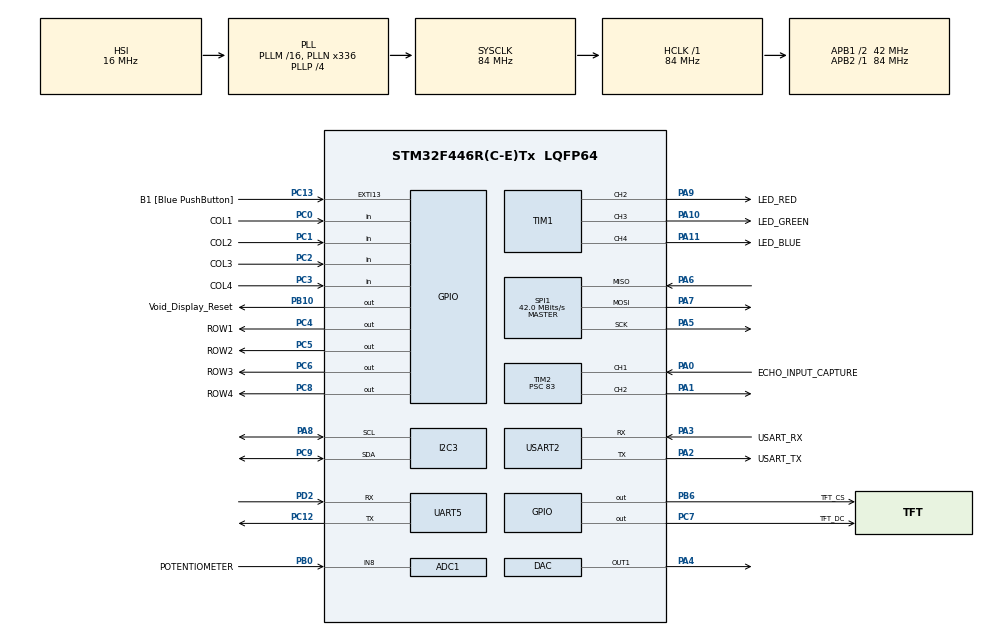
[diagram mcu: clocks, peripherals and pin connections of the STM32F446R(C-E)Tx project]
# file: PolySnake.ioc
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ADC1.Channel-0\#ChannelRegularConversion=ADC_CHANNEL_8
ADC1.NbrOfConversionFlag=1
ADC1.Rank-0\#ChannelRegularConversion=1
ADC1.SamplingTime-0\#ChannelRegularConversion=ADC_SAMPLETIME_3CYCLES
ADC1.master=1
DAC.DAC_Trigger=DAC_TRIGGER_T4_TRGO
Dma.DAC1.0.Direction=DMA_MEMORY_TO_PERIPH
Dma.DAC1.0.FIFOMode=DMA_FIFOMODE_DISABLE
Dma.DAC1.0.Instance=DMA1_Stream5
Dma.DAC1.0.MemDataAlignment=DMA_MDATAALIGN_WORD
Dma.DAC1.0.MemInc=DMA_MINC_ENABLE
Dma.DAC1.0.Mode=DMA_CIRCULAR
Dma.DAC1.0.PeriphDataAlignment=DMA_PDATAALIGN_WORD
Dma.DAC1.0.PeriphInc=DMA_PINC_DISABLE
Dma.DAC1.0.Priority=DMA_PRIORITY_HIGH
Dma.Request0=DAC1
Dma.Request1=SPI1_RX
Dma.Request2=SPI1_TX
Dma.Request3=UART5_RX
Dma.Request4=UART5_TX
Dma.SPI1_RX.1.Direction=DMA_PERIPH_TO_MEMORY
Dma.SPI1_RX.1.FIFOMode=DMA_FIFOMODE_DISABLE
Dma.SPI1_RX.1.Instance=DMA2_Stream0
Dma.SPI1_RX.1.MemDataAlignment=DMA_MDATAALIGN_BYTE
Dma.SPI1_RX.1.MemInc=DMA_MINC_ENABLE
Dma.SPI1_RX.1.Mode=DMA_NORMAL
Dma.SPI1_RX.1.PeriphDataAlignment=DMA_PDATAALIGN_BYTE
Dma.SPI1_RX.1.PeriphInc=DMA_PINC_DISABLE
Dma.SPI1_RX.1.Priority=DMA_PRIORITY_HIGH
Dma.SPI1_TX.2.Direction=DMA_MEMORY_TO_PERIPH
Dma.SPI1_TX.2.FIFOMode=DMA_FIFOMODE_DISABLE
Dma.SPI1_TX.2.Instance=DMA2_Stream3
Dma.SPI1_TX.2.MemDataAlignment=DMA_MDATAALIGN_BYTE
Dma.SPI1_TX.2.MemInc=DMA_MINC_ENABLE
Dma.SPI1_TX.2.Mode=DMA_NORMAL
Dma.SPI1_TX.2.PeriphDataAlignment=DMA_PDATAALIGN_BYTE
Dma.SPI1_TX.2.PeriphInc=DMA_PINC_DISABLE
Dma.SPI1_TX.2.Priority=DMA_PRIORITY_HIGH
Dma.UART5_RX.3.Direction=DMA_PERIPH_TO_MEMORY
Dma.UART5_RX.3.FIFOMode=DMA_FIFOMODE_DISABLE
Dma.UART5_RX.3.Instance=DMA1_Stream0
Dma.UART5_RX.3.MemDataAlignment=DMA_MDATAALIGN_BYTE
Dma.UART5_RX.3.MemInc=DMA_MINC_ENABLE
Dma.UART5_RX.3.Mode=DMA_CIRCULAR
Dma.UART5_RX.3.PeriphDataAlignment=DMA_PDATAALIGN_BYTE
Dma.UART5_RX.3.PeriphInc=DMA_PINC_DISABLE
Dma.UART5_RX.3.Priority=DMA_PRIORITY_LOW
Dma.UART5_TX.4.Direction=DMA_MEMORY_TO_PERIPH
Dma.UART5_TX.4.FIFOMode=DMA_FIFOMODE_DISABLE
Dma.UART5_TX.4.Instance=DMA1_Stream7
Dma.UART5_TX.4.MemDataAlignment=DMA_MDATAALIGN_BYTE
Dma.UART5_TX.4.MemInc=DMA_MINC_ENABLE
Dma.UART5_TX.4.Mode=DMA_NORMAL
Dma.UART5_TX.4.PeriphDataAlignment=DMA_PDATAALIGN_BYTE
Dma.UART5_TX.4.PeriphInc=DMA_PINC_DISABLE
Dma.UART5_TX.4.Priority=DMA_PRIORITY_LOW
Mcu.Family=STM32F4
Mcu.Name=STM32F446R(C-E)Tx
Mcu.Package=LQFP64
NVIC.DMA1_Stream0_IRQn=true\:0\:0\:false\:false\:true\:false\:true\:true
NVIC.DMA1_Stream5_IRQn=true\:0\:0\:false\:false\:true\:false\:true\:true
NVIC.DMA1_Stream7_IRQn=true\:0\:0\:false\:false\:true\:false\:true\:true
NVIC.DMA2_Stream0_IRQn=true\:0\:0\:false\:false\:true\:false\:true\:true
NVIC.DMA2_Stream3_IRQn=true\:0\:0\:false\:false\:true\:false\:true\:true
NVIC.I2C3_ER_IRQn=true\:0\:0\:false\:false\:true\:true\:true\:true
NVIC.I2C3_EV_IRQn=true\:0\:0\:false\:false\:true\:true\:true\:true
NVIC.PriorityGroup=NVIC_PRIORITYGROUP_0
NVIC.SPI1_IRQn=true\:0\:0\:false\:false\:true\:true\:true\:true
NVIC.TIM2_IRQn=true\:0\:0\:false\:false\:true\:true\:true\:true
NVIC.TIM7_IRQn=true\:0\:0\:false\:false\:true\:true\:true\:true
NVIC.UART5_IRQn=true\:0\:0\:false\:false\:true\:true\:true\:true
NVIC.USART2_IRQn=true\:0\:0\:false\:false\:true\:true\:true\:true
PA0-WKUP.GPIO_Label=ECHO_INPUT_CAPTURE
PA0-WKUP.Signal=S_TIM2_CH1_ETR
PA1.Signal=S_TIM2_CH2
PA10.GPIO_Label=LED_GREEN
PA10.Signal=S_TIM1_CH3
PA11.GPIO_Label=LED_BLUE
PA11.Signal=S_TIM1_CH4
PA13.GPIO_Label=TMS
PA13.Mode=Serial_Wire
PA13.Signal=SYS_JTMS-SWDIO
PA14.GPIO_Label=TCK
PA14.Mode=Serial_Wire
PA14.Signal=SYS_JTCK-SWCLK
PA2.GPIO_Label=USART_TX
PA2.Mode=Asynchronous
PA2.Signal=USART2_TX
PA3.GPIO_Label=USART_RX
PA3.Mode=Asynchronous
PA3.Signal=USART2_RX
PA4.Signal=COMP_DAC1_group
PA5.Mode=Full_Duplex_Master
PA5.Signal=SPI1_SCK
PA6.Mode=Full_Duplex_Master
PA6.Signal=SPI1_MISO
PA7.Mode=Full_Duplex_Master
PA7.Signal=SPI1_MOSI
PA8.Mode=I2C
PA8.Signal=I2C3_SCL
PA9.GPIO_Label=LED_RED
PA9.Signal=S_TIM1_CH2
PB0.GPIO_Label=POTENTIOMETER
PB0.Signal=ADCx_IN8
PB10.GPIO_Label=Void_Display_Reset
PB10.Signal=GPIO_Output
PB3.GPIO_Label=SWO
PB3.Signal=SYS_JTDO-SWO
PB6.GPIO_Label=TFT_CS
PB6.Signal=GPIO_Output
PC0.GPIO_Label=COL1
PC0.GPIO_PuPd=GPIO_PULLUP
PC0.Signal=GPIO_Input
PC1.GPIO_Label=COL2
PC1.GPIO_PuPd=GPIO_PULLUP
PC1.Signal=GPIO_Input
PC12.Mode=Asynchronous
PC12.Signal=UART5_TX
PC13.GPIO_Label=B1 [Blue PushButton]
PC13.GPIO_ModeDefaultEXTI=GPIO_MODE_IT_FALLING
PC13.Signal=GPXTI13
PC14-OSC32_IN.Mode=LSE-External-Oscillator
PC14-OSC32_IN.Signal=RCC_OSC32_IN
PC15-OSC32_OUT.Mode=LSE-External-Oscillator
PC15-OSC32_OUT.Signal=RCC_OSC32_OUT
PC2.GPIO_Label=COL3
PC2.GPIO_PuPd=GPIO_PULLUP
PC2.Signal=GPIO_Input
PC3.GPIO_Label=COL4
PC3.GPIO_PuPd=GPIO_PULLUP
PC3.Signal=GPIO_Input
PC4.GPIO_Label=ROW1
PC4.GPIO_ModeDefaultOutputPP=GPIO_MODE_OUTPUT_OD
PC4.GPIO_PuPd=GPIO_NOPULL
PC4.Signal=GPIO_Output
PC5.GPIO_Label=ROW2
PC5.GPIO_ModeDefaultOutputPP=GPIO_MODE_OUTPUT_OD
PC5.GPIO_PuPd=GPIO_NOPULL
PC5.Signal=GPIO_Output
PC6.GPIO_Label=ROW3
PC6.GPIO_ModeDefaultOutputPP=GPIO_MODE_OUTPUT_OD
PC6.GPIO_PuPd=GPIO_NOPULL
PC6.Signal=GPIO_Output
PC7.GPIO_Label=TFT_DC
PC7.Signal=GPIO_Output
PC8.GPIO_Label=ROW4
PC8.GPIO_ModeDefaultOutputPP=GPIO_MODE_OUTPUT_OD
PC8.GPIO_PuPd=GPIO_NOPULL
PC8.Signal=GPIO_Output
PC9.Mode=I2C
PC9.Signal=I2C3_SDA
PD2.Mode=Asynchronous
PD2.Signal=UART5_RX
PH0-OSC_IN.Mode=HSE-External-Oscillator
PH0-OSC_IN.Signal=RCC_OSC_IN
PH1-OSC_OUT.Mode=HSE-External-Oscillator
PH1-OSC_OUT.Signal=RCC_OSC_OUT
ProjectManager.HeapSize=0x200
ProjectManager.StackSize=0x400
ProjectManager.TargetToolchain=STM32CubeIDE
RCC.48MHZClocksFreq_Value=84000000
RCC.AHBFreq_Value=84000000
RCC.APB1CLKDivider=RCC_HCLK_DIV2
RCC.APB1Freq_Value=42000000
RCC.APB1TimFreq_Value=84000000
RCC.APB2Freq_Value=84000000
RCC.APB2TimFreq_Value=84000000
RCC.CortexFreq_Value=84000000
RCC.FLatency-AdvancedSettings=FLASH_LATENCY_2
RCC.HCLKFreq_Value=84000000
RCC.HSE_VALUE=8000000
RCC.HSI_VALUE=16000000
RCC.PLLN=336
RCC.PLLP=RCC_PLLP_DIV4
RCC.SYSCLKFreq_VALUE=84000000
RCC.SYSCLKSource=RCC_SYSCLKSOURCE_PLLCLK
RCC.USBFreq_Value=168000000
RCC.VCOOutputFreq_Value=336000000
SH.ADCx_IN8.0=ADC1_IN8,IN8
SH.COMP_DAC1_group.0=DAC_OUT1,DAC_OUT1
SH.S_TIM1_CH2.0=TIM1_CH2,PWM Generation2 CH2
SH.S_TIM1_CH3.0=TIM1_CH3,PWM Generation3 CH3
SH.S_TIM1_CH4.0=TIM1_CH4,PWM Generation4 CH4
SH.S_TIM2_CH1_ETR.0=TIM2_CH1,Input_Capture1_from_TI1
SH.S_TIM2_CH2.0=TIM2_CH2,PWM Generation2 CH2
SPI1.CalculateBaudRate=42.0 MBits/s
SPI1.Direction=SPI_DIRECTION_2LINES
SPI1.Mode=SPI_MODE_MASTER
SPI1.VirtualType=VM_MASTER
TIM1.AutoReloadPreload=TIM_AUTORELOAD_PRELOAD_ENABLE
TIM1.Channel-PWM\ Generation2\ CH2=TIM_CHANNEL_2
TIM1.Channel-PWM\ Generation3\ CH3=TIM_CHANNEL_3
TIM1.Channel-PWM\ Generation4\ CH4=TIM_CHANNEL_4
TIM2.Channel-Input_Capture1_from_TI1=TIM_CHANNEL_1
TIM2.Channel-PWM\ Generation2\ CH2=TIM_CHANNEL_2
TIM2.ICPolarity_CH1=TIM_INPUTCHANNELPOLARITY_BOTHEDGE
TIM2.Period=199999
TIM2.Prescaler=83
TIM2.Pulse-PWM\ Generation2\ CH2=10
TIM2.TIM_MasterOutputTrigger=TIM_TRGO_RESET
TIM4.Period=24
TIM4.Prescaler=83
TIM4.TIM_MasterOutputTrigger=TIM_TRGO_UPDATE
TIM7.Period=49999
TIM7.Prescaler=839
TIM7.TIM_MasterOutputTrigger=TIM_TRGO_UPDATE
UART5.VirtualMode=Asynchronous
USART2.VirtualMode=VM_ASYNC
VP_TIM1_VS_ClockSourceINT.Mode=Internal
VP_TIM2_VS_ClockSourceINT.Mode=Internal
VP_TIM4_VS_ClockSourceINT.Mode=Internal
VP_TIM6_VS_ClockSourceINT.Mode=Enable_Timer
VP_TIM7_VS_ClockSourceINT.Mode=Enable_Timer
board=NUCLEO-F446RE

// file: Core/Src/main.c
/* USER CODE BEGIN Header */
/**
 ******************************************************************************
 * @file           : main.c
 * @brief          : Main program body
 ******************************************************************************
 * @attention
 *
 * Copyright (c) 2025 STMicroelectronics.
 * All rights reserved.
 *
 * This software is licensed under terms that can be found in the LICENSE file
 * in the root directory of this software component.
 * If no LICENSE file comes with this software, it is provided AS-IS.
 *
 ******************************************************************************
 */
/* USER CODE END Header */
#include "main.h"

/* USER CODE BEGIN Includes */
#include <stdio.h>
#include <stdlib.h>

#include "cpp_main.h"
#include "stm32f4xx_hal_uart.h"
/* USER CODE END Includes */

/* USER CODE BEGIN PD */
#define RX_BUFFER_SIZE 1
#define GAME_DELAY_COUNT 20

/* USER CODE END PD */

ADC_HandleTypeDef hadc1;

DAC_HandleTypeDef hdac;
DMA_HandleTypeDef hdma_dac1;

I2C_HandleTypeDef hi2c3;

SPI_HandleTypeDef hspi1;
DMA_HandleTypeDef hdma_spi1_rx;
DMA_HandleTypeDef hdma_spi1_tx;

TIM_HandleTypeDef htim1;
TIM_HandleTypeDef htim2;
TIM_HandleTypeDef htim4;
TIM_HandleTypeDef htim6;
TIM_HandleTypeDef htim7;

UART_HandleTypeDef huart5;
UART_HandleTypeDef huart2;
DMA_HandleTypeDef hdma_uart5_rx;
DMA_HandleTypeDef hdma_uart5_tx;

/* USER CODE BEGIN PV */
uint8_t rx_buffer_USB[RX_BUFFER_SIZE];
uint8_t rx_buffer[RX_BUFFER_SIZE];
volatile uint32_t systick_count = 0;
volatile uint32_t victory_screen_delay = 0;
volatile uint16_t game_delay = 0;
volatile uint16_t game_delay_flag = 0;

/* USER CODE END PV */

void SystemClock_Config(void);
static void MX_GPIO_Init(void);
static void MX_DMA_Init(void);
static void MX_USART2_UART_Init(void);
static void MX_DAC_Init(void);
static void MX_TIM6_Init(void);
static void MX_TIM2_Init(void);
static void MX_TIM4_Init(void);
static void MX_SPI1_Init(void);
static void MX_UART5_Init(void);
static void MX_I2C3_Init(void);
static void MX_ADC1_Init(void);
static void MX_TIM1_Init(void);
static void MX_TIM7_Init(void);

int main(void) {

  /* MCU Configuration--------------------------------------------------------*/

  /* Reset of all peripherals, Initializes the Flash interface and the Systick.
   */
  HAL_Init();

  /* Configure the system clock */
  SystemClock_Config();

  /* Initialize all configured peripherals */
  MX_GPIO_Init();
  MX_DMA_Init();
  MX_USART2_UART_Init();
  MX_DAC_Init();
  MX_TIM6_Init();
  MX_TIM2_Init();
  MX_TIM4_Init();
  MX_SPI1_Init();
  MX_UART5_Init();
  MX_I2C3_Init();
  MX_ADC1_Init();
  MX_TIM1_Init();
  MX_TIM7_Init();
  /* USER CODE BEGIN 2 */

  HAL_TIM_Base_Start_IT(&htim7);
  HAL_TIM_IC_Start_IT(&htim2, TIM_CHANNEL_1);
  HAL_UART_Receive_IT(&huart2, rx_buffer_USB, RX_BUFFER_SIZE);
  HAL_UART_Receive_IT(&huart5, rx_buffer, RX_BUFFER_SIZE);
  peripheral_handles handles = {.hdac = &hdac,
                                .htim_dac = &htim4,
                                .hspi_tft = &hspi1,
                                .htim_distance = &htim2,
                                .htim_led = &htim1,
                                .hi2c = &hi2c3,
                                .huart = &huart5,
                                .debug_uart = &huart2,
                                .hadc = &hadc1,
                                .gpio_keypad = GPIOC};
  // Main function of the game.
  cpp_main(&handles);

  /* USER CODE END 2 */

  /* Infinite loop */
  while (1) {

  }
}

void SystemClock_Config(void) {
  RCC_OscInitTypeDef RCC_OscInitStruct = {0};
  RCC_ClkInitTypeDef RCC_ClkInitStruct = {0};

  /** Configure the main internal regulator output voltage
   */
  __HAL_RCC_PWR_CLK_ENABLE();
  __HAL_PWR_VOLTAGESCALING_CONFIG(PWR_REGULATOR_VOLTAGE_SCALE3);

  /** Initializes the RCC Oscillators according to the specified parameters
   * in the RCC_OscInitTypeDef structure.
   */
  RCC_OscInitStruct.OscillatorType = RCC_OSCILLATORTYPE_HSI;
  RCC_OscInitStruct.HSIState = RCC_HSI_ON;
  RCC_OscInitStruct.HSICalibrationValue = RCC_HSICALIBRATION_DEFAULT;
  RCC_OscInitStruct.PLL.PLLState = RCC_PLL_ON;
  RCC_OscInitStruct.PLL.PLLSource = RCC_PLLSOURCE_HSI;
  RCC_OscInitStruct.PLL.PLLM = 16;
  RCC_OscInitStruct.PLL.PLLN = 336;
  RCC_OscInitStruct.PLL.PLLP = RCC_PLLP_DIV4;
  RCC_OscInitStruct.PLL.PLLQ = 2;
  RCC_OscInitStruct.PLL.PLLR = 2;
  if (HAL_RCC_OscConfig(&RCC_OscInitStruct) != HAL_OK) {
    Error_Handler();
  }

  /** Initializes the CPU, AHB and APB buses clocks
   */
  RCC_ClkInitStruct.ClockType = RCC_CLOCKTYPE_HCLK | RCC_CLOCKTYPE_SYSCLK |
                                RCC_CLOCKTYPE_PCLK1 | RCC_CLOCKTYPE_PCLK2;
  RCC_ClkInitStruct.SYSCLKSource = RCC_SYSCLKSOURCE_PLLCLK;
  RCC_ClkInitStruct.AHBCLKDivider = RCC_SYSCLK_DIV1;
  RCC_ClkInitStruct.APB1CLKDivider = RCC_HCLK_DIV2;
  RCC_ClkInitStruct.APB2CLKDivider = RCC_HCLK_DIV1;

  if (HAL_RCC_ClockConfig(&RCC_ClkInitStruct, FLASH_LATENCY_2) != HAL_OK) {
    Error_Handler();
  }
}

static void MX_ADC1_Init(void) {

  ADC_ChannelConfTypeDef sConfig = {0};

  /** Configure the global features of the ADC (Clock, Resolution, Data
   * Alignment and number of conversion)
   */
  hadc1.Instance = ADC1;
  hadc1.Init.ClockPrescaler = ADC_CLOCK_SYNC_PCLK_DIV4;
  hadc1.Init.Resolution = ADC_RESOLUTION_12B;
  hadc1.Init.ScanConvMode = DISABLE;
  hadc1.Init.ContinuousConvMode = DISABLE;
  hadc1.Init.DiscontinuousConvMode = DISABLE;
  hadc1.Init.ExternalTrigConvEdge = ADC_EXTERNALTRIGCONVEDGE_NONE;
  hadc1.Init.ExternalTrigConv = ADC_SOFTWARE_START;
  hadc1.Init.DataAlign = ADC_DATAALIGN_RIGHT;
  hadc1.Init.NbrOfConversion = 1;
  hadc1.Init.DMAContinuousRequests = DISABLE;
  hadc1.Init.EOCSelection = ADC_EOC_SINGLE_CONV;
  if (HAL_ADC_Init(&hadc1) != HAL_OK) {
    Error_Handler();
  }

  /** Configure for the selected ADC regular channel its corresponding rank in
   * the sequencer and its sample time.
   */
  sConfig.Channel = ADC_CHANNEL_8;
  sConfig.Rank = 1;
  sConfig.SamplingTime = ADC_SAMPLETIME_3CYCLES;
  if (HAL_ADC_ConfigChannel(&hadc1, &sConfig) != HAL_OK) {
    Error_Handler();
  }
}

static void MX_DAC_Init(void) {

  DAC_ChannelConfTypeDef sConfig = {0};

  /** DAC Initialization
   */
  hdac.Instance = DAC;
  if (HAL_DAC_Init(&hdac) != HAL_OK) {
    Error_Handler();
  }

  /** DAC channel OUT1 config
   */
  sConfig.DAC_Trigger = DAC_TRIGGER_T4_TRGO;
  sConfig.DAC_OutputBuffer = DAC_OUTPUTBUFFER_ENABLE;
  if (HAL_DAC_ConfigChannel(&hdac, &sConfig, DAC_CHANNEL_1) != HAL_OK) {
    Error_Handler();
  }
}

static void MX_I2C3_Init(void) {

  hi2c3.Instance = I2C3;
  hi2c3.Init.ClockSpeed = 100000;
  hi2c3.Init.DutyCycle = I2C_DUTYCYCLE_2;
  hi2c3.Init.OwnAddress1 = 0;
  hi2c3.Init.AddressingMode = I2C_ADDRESSINGMODE_7BIT;
  hi2c3.Init.DualAddressMode = I2C_DUALADDRESS_DISABLE;
  hi2c3.Init.OwnAddress2 = 0;
  hi2c3.Init.GeneralCallMode = I2C_GENERALCALL_DISABLE;
  hi2c3.Init.NoStretchMode = I2C_NOSTRETCH_DISABLE;
  if (HAL_I2C_Init(&hi2c3) != HAL_OK) {
    Error_Handler();
  }
}

static void MX_SPI1_Init(void) {

  /* SPI1 parameter configuration*/
  hspi1.Instance = SPI1;
  hspi1.Init.Mode = SPI_MODE_MASTER;
  hspi1.Init.Direction = SPI_DIRECTION_2LINES;
  hspi1.Init.DataSize = SPI_DATASIZE_8BIT;
  hspi1.Init.CLKPolarity = SPI_POLARITY_LOW;
  hspi1.Init.CLKPhase = SPI_PHASE_1EDGE;
  hspi1.Init.NSS = SPI_NSS_SOFT;
  hspi1.Init.BaudRatePrescaler = SPI_BAUDRATEPRESCALER_2;
  hspi1.Init.FirstBit = SPI_FIRSTBIT_MSB;
  hspi1.Init.TIMode = SPI_TIMODE_DISABLE;
  hspi1.Init.CRCCalculation = SPI_CRCCALCULATION_DISABLE;
  hspi1.Init.CRCPolynomial = 10;
  if (HAL_SPI_Init(&hspi1) != HAL_OK) {
    Error_Handler();
  }
}

static void MX_TIM1_Init(void) {

  TIM_ClockConfigTypeDef sClockSourceConfig = {0};
  TIM_MasterConfigTypeDef sMasterConfig = {0};
  TIM_OC_InitTypeDef sConfigOC = {0};
  TIM_BreakDeadTimeConfigTypeDef sBreakDeadTimeConfig = {0};

  htim1.Instance = TIM1;
  htim1.Init.Prescaler = 0;
  htim1.Init.CounterMode = TIM_COUNTERMODE_UP;
  htim1.Init.Period = 65535;
  htim1.Init.ClockDivision = TIM_CLOCKDIVISION_DIV1;
  htim1.Init.RepetitionCounter = 0;
  htim1.Init.AutoReloadPreload = TIM_AUTORELOAD_PRELOAD_ENABLE;
  if (HAL_TIM_Base_Init(&htim1) != HAL_OK) {
    Error_Handler();
  }
  sClockSourceConfig.ClockSource = TIM_CLOCKSOURCE_INTERNAL;
  if (HAL_TIM_ConfigClockSource(&htim1, &sClockSourceConfig) != HAL_OK) {
    Error_Handler();
  }
  if (HAL_TIM_PWM_Init(&htim1) != HAL_OK) {
    Error_Handler();
  }
  sMasterConfig.MasterOutputTrigger = TIM_TRGO_RESET;
  sMasterConfig.MasterSlaveMode = TIM_MASTERSLAVEMODE_DISABLE;
  if (HAL_TIMEx_MasterConfigSynchronization(&htim1, &sMasterConfig) != HAL_OK) {
    Error_Handler();
  }
  sConfigOC.OCMode = TIM_OCMODE_PWM1;
  sConfigOC.Pulse = 0;
  sConfigOC.OCPolarity = TIM_OCPOLARITY_HIGH;
  sConfigOC.OCNPolarity = TIM_OCNPOLARITY_HIGH;
  sConfigOC.OCFastMode = TIM_OCFAST_DISABLE;
  sConfigOC.OCIdleState = TIM_OCIDLESTATE_RESET;
  sConfigOC.OCNIdleState = TIM_OCNIDLESTATE_RESET;
  if (HAL_TIM_PWM_ConfigChannel(&htim1, &sConfigOC, TIM_CHANNEL_2) != HAL_OK) {
    Error_Handler();
  }
  if (HAL_TIM_PWM_ConfigChannel(&htim1, &sConfigOC, TIM_CHANNEL_3) != HAL_OK) {
    Error_Handler();
  }
  if (HAL_TIM_PWM_ConfigChannel(&htim1, &sConfigOC, TIM_CHANNEL_4) != HAL_OK) {
    Error_Handler();
  }
  sBreakDeadTimeConfig.OffStateRunMode = TIM_OSSR_DISABLE;
  sBreakDeadTimeConfig.OffStateIDLEMode = TIM_OSSI_DISABLE;
  sBreakDeadTimeConfig.LockLevel = TIM_LOCKLEVEL_OFF;
  sBreakDeadTimeConfig.DeadTime = 0;
  sBreakDeadTimeConfig.BreakState = TIM_BREAK_DISABLE;
  sBreakDeadTimeConfig.BreakPolarity = TIM_BREAKPOLARITY_HIGH;
  sBreakDeadTimeConfig.AutomaticOutput = TIM_AUTOMATICOUTPUT_DISABLE;
  if (HAL_TIMEx_ConfigBreakDeadTime(&htim1, &sBreakDeadTimeConfig) != HAL_OK) {
    Error_Handler();
  }
  HAL_TIM_MspPostInit(&htim1);
}

static void MX_TIM2_Init(void) {

  TIM_ClockConfigTypeDef sClockSourceConfig = {0};
  TIM_MasterConfigTypeDef sMasterConfig = {0};
  TIM_IC_InitTypeDef sConfigIC = {0};
  TIM_OC_InitTypeDef sConfigOC = {0};

  htim2.Instance = TIM2;
  htim2.Init.Prescaler = 83;
  htim2.Init.CounterMode = TIM_COUNTERMODE_UP;
  htim2.Init.Period = 199999;
  htim2.Init.ClockDivision = TIM_CLOCKDIVISION_DIV1;
  htim2.Init.AutoReloadPreload = TIM_AUTORELOAD_PRELOAD_DISABLE;
  if (HAL_TIM_Base_Init(&htim2) != HAL_OK) {
    Error_Handler();
  }
  sClockSourceConfig.ClockSource = TIM_CLOCKSOURCE_INTERNAL;
  if (HAL_TIM_ConfigClockSource(&htim2, &sClockSourceConfig) != HAL_OK) {
    Error_Handler();
  }
  if (HAL_TIM_IC_Init(&htim2) != HAL_OK) {
    Error_Handler();
  }
  if (HAL_TIM_PWM_Init(&htim2) != HAL_OK) {
    Error_Handler();
  }
  sMasterConfig.MasterOutputTrigger = TIM_TRGO_RESET;
  sMasterConfig.MasterSlaveMode = TIM_MASTERSLAVEMODE_DISABLE;
  if (HAL_TIMEx_MasterConfigSynchronization(&htim2, &sMasterConfig) != HAL_OK) {
    Error_Handler();
  }
  sConfigIC.ICPolarity = TIM_INPUTCHANNELPOLARITY_BOTHEDGE;
  sConfigIC.ICSelection = TIM_ICSELECTION_DIRECTTI;
  sConfigIC.ICPrescaler = TIM_ICPSC_DIV1;
  sConfigIC.ICFilter = 0;
  if (HAL_TIM_IC_ConfigChannel(&htim2, &sConfigIC, TIM_CHANNEL_1) != HAL_OK) {
    Error_Handler();
  }
  sConfigOC.OCMode = TIM_OCMODE_PWM1;
  sConfigOC.Pulse = 10;
  sConfigOC.OCPolarity = TIM_OCPOLARITY_HIGH;
  sConfigOC.OCFastMode = TIM_OCFAST_DISABLE;
  if (HAL_TIM_PWM_ConfigChannel(&htim2, &sConfigOC, TIM_CHANNEL_2) != HAL_OK) {
    Error_Handler();
  }
  HAL_TIM_MspPostInit(&htim2);
}

static void MX_TIM4_Init(void) {

  TIM_ClockConfigTypeDef sClockSourceConfig = {0};
  TIM_MasterConfigTypeDef sMasterConfig = {0};

  htim4.Instance = TIM4;
  htim4.Init.Prescaler = 83;
  htim4.Init.CounterMode = TIM_COUNTERMODE_UP;
  htim4.Init.Period = 24;
  htim4.Init.ClockDivision = TIM_CLOCKDIVISION_DIV1;
  htim4.Init.AutoReloadPreload = TIM_AUTORELOAD_PRELOAD_DISABLE;
  if (HAL_TIM_Base_Init(&htim4) != HAL_OK) {
    Error_Handler();
  }
  sClockSourceConfig.ClockSource = TIM_CLOCKSOURCE_INTERNAL;
  if (HAL_TIM_ConfigClockSource(&htim4, &sClockSourceConfig) != HAL_OK) {
    Error_Handler();
  }
  sMasterConfig.MasterOutputTrigger = TIM_TRGO_UPDATE;
  sMasterConfig.MasterSlaveMode = TIM_MASTERSLAVEMODE_DISABLE;
  if (HAL_TIMEx_MasterConfigSynchronization(&htim4, &sMasterConfig) != HAL_OK) {
    Error_Handler();
  }
}

static void MX_TIM6_Init(void) {

  TIM_MasterConfigTypeDef sMasterConfig = {0};

  htim6.Instance = TIM6;
  htim6.Init.Prescaler = 0;
  htim6.Init.CounterMode = TIM_COUNTERMODE_UP;
  htim6.Init.Period = 65535;
  htim6.Init.AutoReloadPreload = TIM_AUTORELOAD_PRELOAD_DISABLE;
  if (HAL_TIM_Base_Init(&htim6) != HAL_OK) {
    Error_Handler();
  }
  sMasterConfig.MasterOutputTrigger = TIM_TRGO_RESET;
  sMasterConfig.MasterSlaveMode = TIM_MASTERSLAVEMODE_DISABLE;
  if (HAL_TIMEx_MasterConfigSynchronization(&htim6, &sMasterConfig) != HAL_OK) {
    Error_Handler();
  }
}

static void MX_TIM7_Init(void) {

  TIM_MasterConfigTypeDef sMasterConfig = {0};

  htim7.Instance = TIM7;
  htim7.Init.Prescaler = 839;
  htim7.Init.CounterMode = TIM_COUNTERMODE_UP;
  htim7.Init.Period = 49999;
  htim7.Init.AutoReloadPreload = TIM_AUTORELOAD_PRELOAD_DISABLE;
  if (HAL_TIM_Base_Init(&htim7) != HAL_OK) {
    Error_Handler();
  }
  sMasterConfig.MasterOutputTrigger = TIM_TRGO_UPDATE;
  sMasterConfig.MasterSlaveMode = TIM_MASTERSLAVEMODE_DISABLE;
  if (HAL_TIMEx_MasterConfigSynchronization(&htim7, &sMasterConfig) != HAL_OK) {
    Error_Handler();
  }
}

static void MX_UART5_Init(void) {

  huart5.Instance = UART5;
  huart5.Init.BaudRate = 115200;
  huart5.Init.WordLength = UART_WORDLENGTH_8B;
  huart5.Init.StopBits = UART_STOPBITS_1;
  huart5.Init.Parity = UART_PARITY_NONE;
  huart5.Init.Mode = UART_MODE_TX_RX;
  huart5.Init.HwFlowCtl = UART_HWCONTROL_NONE;
  huart5.Init.OverSampling = UART_OVERSAMPLING_16;
  if (HAL_UART_Init(&huart5) != HAL_OK) {
    Error_Handler();
  }
}

static void MX_USART2_UART_Init(void) {

  huart2.Instance = USART2;
  huart2.Init.BaudRate = 115200;
  huart2.Init.WordLength = UART_WORDLENGTH_8B;
  huart2.Init.StopBits = UART_STOPBITS_1;
  huart2.Init.Parity = UART_PARITY_NONE;
  huart2.Init.Mode = UART_MODE_TX_RX;
  huart2.Init.HwFlowCtl = UART_HWCONTROL_NONE;
  huart2.Init.OverSampling = UART_OVERSAMPLING_16;
  if (HAL_UART_Init(&huart2) != HAL_OK) {
    Error_Handler();
  }
  /* USER CODE BEGIN USART2_Init 2 */
  HAL_NVIC_SetPriority(USART2_IRQn, 0, 0);
  HAL_NVIC_EnableIRQ(USART2_IRQn);
  /* USER CODE END USART2_Init 2 */
}

static void MX_DMA_Init(void) {
  /* DMA controller clock enable */
  __HAL_RCC_DMA1_CLK_ENABLE();
  __HAL_RCC_DMA2_CLK_ENABLE();

  /* DMA interrupt init */
  /* DMA1_Stream0_IRQn interrupt configuration */
  HAL_NVIC_SetPriority(DMA1_Stream0_IRQn, 0, 0);
  HAL_NVIC_EnableIRQ(DMA1_Stream0_IRQn);
  /* DMA1_Stream5_IRQn interrupt configuration */
  HAL_NVIC_SetPriority(DMA1_Stream5_IRQn, 0, 0);
  HAL_NVIC_EnableIRQ(DMA1_Stream5_IRQn);
  /* DMA1_Stream7_IRQn interrupt configuration */
  HAL_NVIC_SetPriority(DMA1_Stream7_IRQn, 0, 0);
  HAL_NVIC_EnableIRQ(DMA1_Stream7_IRQn);
  /* DMA2_Stream0_IRQn interrupt configuration */
  HAL_NVIC_SetPriority(DMA2_Stream0_IRQn, 0, 0);
  HAL_NVIC_EnableIRQ(DMA2_Stream0_IRQn);
  /* DMA2_Stream3_IRQn interrupt configuration */
  HAL_NVIC_SetPriority(DMA2_Stream3_IRQn, 0, 0);
  HAL_NVIC_EnableIRQ(DMA2_Stream3_IRQn);
}

static void MX_GPIO_Init(void) {
  GPIO_InitTypeDef GPIO_InitStruct = {0};

  /* GPIO Ports Clock Enable */
  __HAL_RCC_GPIOC_CLK_ENABLE();
  __HAL_RCC_GPIOH_CLK_ENABLE();
  __HAL_RCC_GPIOA_CLK_ENABLE();
  __HAL_RCC_GPIOB_CLK_ENABLE();
  __HAL_RCC_GPIOD_CLK_ENABLE();

  /*Configure GPIO pin Output Level */
  HAL_GPIO_WritePin(GPIOC,
                    ROW1_Pin | ROW2_Pin | ROW3_Pin | TFT_DC_Pin | ROW4_Pin,
                    GPIO_PIN_RESET);

  /*Configure GPIO pin Output Level */
  HAL_GPIO_WritePin(GPIOB, Void_Display_Reset_Pin | TFT_CS_Pin, GPIO_PIN_RESET);

  /*Configure GPIO pin : B1_Pin */
  GPIO_InitStruct.Pin = B1_Pin;
  GPIO_InitStruct.Mode = GPIO_MODE_IT_FALLING;
  GPIO_InitStruct.Pull = GPIO_NOPULL;
  HAL_GPIO_Init(B1_GPIO_Port, &GPIO_InitStruct);

  /*Configure GPIO pins : COL1_Pin COL2_Pin COL3_Pin COL4_Pin */
  GPIO_InitStruct.Pin = COL1_Pin | COL2_Pin | COL3_Pin | COL4_Pin;
  GPIO_InitStruct.Mode = GPIO_MODE_INPUT;
  GPIO_InitStruct.Pull = GPIO_PULLUP;
  HAL_GPIO_Init(GPIOC, &GPIO_InitStruct);

  /*Configure GPIO pins : ROW1_Pin ROW2_Pin ROW3_Pin ROW4_Pin */
  GPIO_InitStruct.Pin = ROW1_Pin | ROW2_Pin | ROW3_Pin | ROW4_Pin;
  GPIO_InitStruct.Mode = GPIO_MODE_OUTPUT_OD;
  GPIO_InitStruct.Pull = GPIO_NOPULL;
  GPIO_InitStruct.Speed = GPIO_SPEED_FREQ_LOW;
  HAL_GPIO_Init(GPIOC, &GPIO_InitStruct);

  /*Configure GPIO pins : Void_Display_Reset_Pin TFT_CS_Pin */
  GPIO_InitStruct.Pin = Void_Display_Reset_Pin | TFT_CS_Pin;
  GPIO_InitStruct.Mode = GPIO_MODE_OUTPUT_PP;
  GPIO_InitStruct.Pull = GPIO_NOPULL;
  GPIO_InitStruct.Speed = GPIO_SPEED_FREQ_LOW;
  HAL_GPIO_Init(GPIOB, &GPIO_InitStruct);

  /*Configure GPIO pin : TFT_DC_Pin */
  GPIO_InitStruct.Pin = TFT_DC_Pin;
  GPIO_InitStruct.Mode = GPIO_MODE_OUTPUT_PP;
  GPIO_InitStruct.Pull = GPIO_NOPULL;
  GPIO_InitStruct.Speed = GPIO_SPEED_FREQ_LOW;
  HAL_GPIO_Init(TFT_DC_GPIO_Port, &GPIO_InitStruct);

}

/* USER CODE BEGIN 4 */

enum musicState {
  INIT,
  NOTE,
  WAIT,
  UPDATE
};

enum musicState music_state = INIT;

/* ############################# Event Handlers ######################### */
/** @brief Period elapsed callback for timer used to manage state machine
 * timing.
 * @param [in] htim Pointer to timer periphery handle.
 */
void HAL_TIM_PeriodElapsedCallback(TIM_HandleTypeDef* htim) {
  if (htim->Instance == TIM7) {  // Timer 2 Hz  }

    switch (music_state) {
      case INIT:
        // Initialize music playback
        if (soundInit()) {
          music_state = NOTE;
        }
        break;
      case NOTE:
        // Play current note
        setNote();
        music_state = WAIT;
        break;
      case WAIT:
        // Wait for note duration
        if (waitSound()) {
          music_state = NOTE;
        }
        break;

      default:
        music_state = INIT;
        break;
    }
  }
}

/** @brief Capture callback for a timer used to measure time difference
 * between rising and falling edge of an digital external input signal.
 * @param [in] htim Pointer to timer periphery handle.
 */
void HAL_TIM_IC_CaptureCallback(TIM_HandleTypeDef* htim) {
  if (htim->Channel == HAL_TIM_ACTIVE_CHANNEL_1) {
    captureCallback(htim);
  }
}

/** @brief UART receive complete callback. Here we read the incoming message
 * byte by byte.
 * @param [in] huart Pointer to the UART interface handle.
 */
void HAL_UART_RxCpltCallback(UART_HandleTypeDef* huart) {
  handleUART(huart->Instance->DR);
  if (huart->Instance ==
      USART2) { /* Check which UART triggered the interrupt */
    /* Start the next reception */
    HAL_UART_Receive_IT(huart, rx_buffer_USB, RX_BUFFER_SIZE);
  }
  if (huart->Instance == UART5) {
    /* Start the next reception */
    HAL_UART_Receive_IT(huart, rx_buffer, RX_BUFFER_SIZE);
  }
}

/** @brief Systick callback.
 */
void HAL_SYSTICK_Callback() {
  systick_count += 1;
  if (game_delay == 0) {
    game_delay = GAME_DELAY_COUNT;
    game_delay_flag = 1;
  }
  game_delay--;

  if (victory_screen_delay > 0) {
    victory_screen_delay--;
  }
}

// Prevent warning: _getentropy is not implemented
int getentropy(void* buffer, size_t length) { return -1; }

/* Enable redirection of printf to UART */
#ifdef __GNUC__
#define PUTCHAR_PROTOTYPE int __io_putchar(int ch)
#else
#define PUTCHAR_PROTOTYPE int fputc(int ch, FILE* f)
#endif

PUTCHAR_PROTOTYPE {
  HAL_UART_Transmit(&huart2, (uint8_t*)&ch, 1,
                    HAL_MAX_DELAY); /* Replace huartX with your UART handle */
  return ch;
}
/* USER CODE END 4 */

void Error_Handler(void) {
  __disable_irq();
  while (1) {
  }
}
#ifdef USE_FULL_ASSERT
/**
 * @brief  Reports the name of the source file and the source line number
 *         where the assert_param error has occurred.
 * @param  file: pointer to the source file name
 * @param  line: assert_param error line source number
 * @retval None
 */
void assert_failed(uint8_t* file, uint32_t line) {
  /* USER CODE BEGIN 6 */
  /* User can add his own implementation to report the file name and line
     number, ex: printf("Wrong parameters value: file %s on line %d\r\n", file,
     line) */
  /* USER CODE END 6 */
}
#endif /* USE_FULL_ASSERT */
